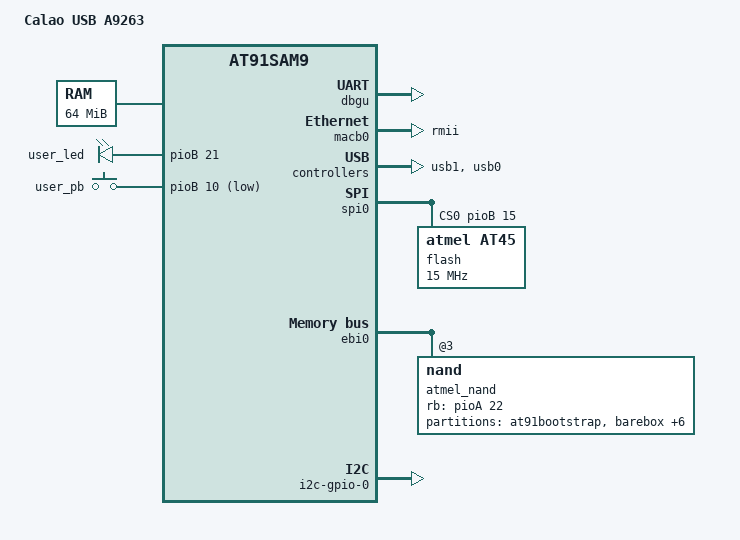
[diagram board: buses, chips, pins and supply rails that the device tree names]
// SPDX-License-Identifier: GPL-2.0-only
/*
 * usb_a9263.dts - Device Tree file for Caloa USB A9293 board
 *
 *  Copyright (C) 2012 Jean-Christophe PLAGNIOL-VILLARD <plagnioj@jcrosoft.com>
 */
/dts-v1/;
#include "at91sam9263.dtsi"

/ {
	model = "Calao USB A9263";
	compatible = "atmel,usb-a9263", "atmel,at91sam9263", "atmel,at91sam9";

	chosen {
		bootargs = "mem=64M console=ttyS0,115200 root=/dev/mtdblock5 rw rootfstype=ubifs";
	};

	memory@20000000 {
		reg = <0x20000000 0x4000000>;
	};

	clocks {
		slow_xtal {
			clock-frequency = <32768>;
		};

		main_xtal {
			clock-frequency = <12000000>;
		};
	};

	ahb {
		apb {
			dbgu: serial@ffffee00 {
				status = "okay";
			};

			tcb0: timer@fff7c000 {
				timer@0 {
					compatible = "atmel,tcb-timer";
					reg = <0>, <1>;
				};

				timer@2 {
					compatible = "atmel,tcb-timer";
					reg = <2>;
				};
			};

			macb0: ethernet@fffbc000 {
				phy-mode = "rmii";
				status = "okay";
			};

			usb1: gadget@fff78000 {
				atmel,vbus-gpio = <&pioB 11 GPIO_ACTIVE_HIGH>;
				status = "okay";
			};

			spi0: spi@fffa4000 {
				cs-gpios = <&pioB 15 GPIO_ACTIVE_HIGH>;
				status = "okay";
				flash@0 {
					compatible = "atmel,at45", "atmel,dataflash";
					reg = <0>;
					spi-max-frequency = <15000000>;
				};
			};

			poweroff@fffffd10 {
				atmel,wakeup-counter = <10>;
				atmel,wakeup-rtt-timer;
			};
		};

		ebi0: ebi@10000000 {
			status = "okay";

			nand_controller: nand-controller {
				status = "okay";
				pinctrl-0 = <&pinctrl_nand_cs &pinctrl_nand_rb>;
				pinctrl-names = "default";

				nand@3 {
					reg = <0x3 0x0 0x800000>;
					rb-gpios = <&pioA 22 GPIO_ACTIVE_HIGH>;
					cs-gpios = <&pioA 15 GPIO_ACTIVE_HIGH>;
					nand-bus-width = <8>;
					nand-ecc-mode = "soft";
					nand-on-flash-bbt;
					label = "atmel_nand";

					partitions {
						compatible = "fixed-partitions";
						#address-cells = <1>;
						#size-cells = <1>;

						at91bootstrap@0 {
							label = "at91bootstrap";
							reg = <0x0 0x20000>;
						};

						barebox@20000 {
							label = "barebox";
							reg = <0x20000 0x40000>;
						};

						bareboxenv@60000 {
							label = "bareboxenv";
							reg = <0x60000 0x20000>;
						};

						bareboxenv2@80000 {
							label = "bareboxenv2";
							reg = <0x80000 0x20000>;
						};

						oftree@80000 {
							label = "oftree";
							reg = <0xa0000 0x20000>;
						};

						kernel@a0000 {
							label = "kernel";
							reg = <0xc0000 0x400000>;
						};

						rootfs@4a0000 {
							label = "rootfs";
							reg = <0x4c0000 0x7800000>;
						};

						data@7ca0000 {
							label = "data";
							reg = <0x7cc0000 0x8340000>;
						};
					};
				};
			};
		};

		usb0: ohci@a00000 {
			num-ports = <2>;
			status = "okay";
		};
	};

	leds {
		compatible = "gpio-leds";

		user_led {
			label = "user_led";
			gpios = <&pioB 21 GPIO_ACTIVE_HIGH>;
			linux,default-trigger = "heartbeat";
		};
	};

	gpio_keys {
		compatible = "gpio-keys";
		#address-cells = <1>;
		#size-cells = <0>;

		user_pb {
			label = "user_pb";
			gpios = <&pioB 10 GPIO_ACTIVE_LOW>;
			linux,code = <28>;
			wakeup-source;
		};
	};

	i2c-gpio-0 {
		status = "okay";
	};
};
